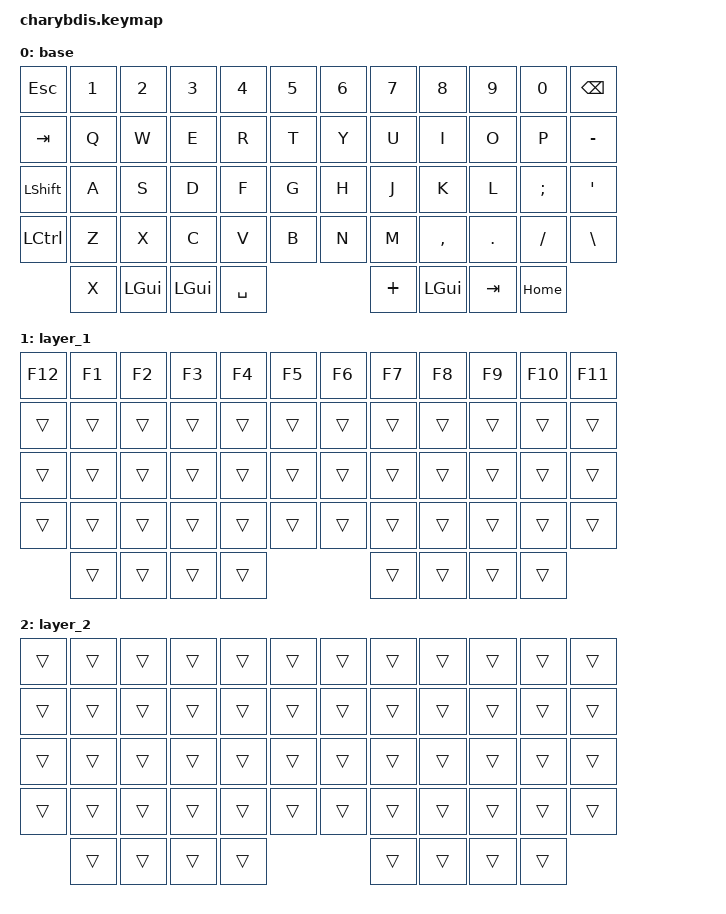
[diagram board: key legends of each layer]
#include <dt-bindings/zmk/pointing.h>
#include <behaviors/mouse_keys.dtsi>
#include <behaviors.dtsi>
#include <dt-bindings/zmk/bt.h>
#include <dt-bindings/zmk/keys.h>
#include <dt-bindings/zmk/mouse.h>
#include <dt-bindings/zmk/outputs.h>

/ {
    chosen { zmk,matrix_transform = &default_transform; };
};


// dt-formatter: indent = "  "
// dt-formatter: multilineIntegerCellsIndent = "reindent"
// dt-formatter: multilineListCommaStyle = "leading"

&sk { /delete-property/ ignore-modifiers; };

/ {
  conditional_layers { compatible = "zmk,conditional-layers"; };

  keymap {
    compatible = "zmk,keymap";

    base {
      bindings = <
        &kp ESC           &kp N1  &kp N2          &kp N3           &kp N4   &kp N5      &kp N6   &kp N7      &kp N8        &kp N9        &kp N0    &kp BSPC
        &kp TAB           &kp Q   &kp W           &kp E            &kp R    &kp T       &kp Y    &kp U       &kp I         &kp O         &kp P     &kp MINUS
        &kp LEFT_SHIFT    &kp A   &kp S           &kp D            &kp F    &kp G       &kp H    &kp J       &kp K         &kp L         &kp SEMI  &kp SQT
        &kp LEFT_CONTROL  &kp Z   &kp X           &kp C            &kp V    &kp B       &kp N    &kp M       &kp COMMA     &kp DOT       &kp FSLH  &kp BACKSLASH
                          &kp X   &kp LGUI        &kp LGUI         &kp SPACE &kp PLUS   &kp LGUI             &kp TAB                     &kp HOME 
                                      
      >;
    };

    layer_1 {
      bindings = <
        &kp F12  &kp F1  &kp F2  &kp F3  &kp F4  &kp F5  &kp F6  &kp F7  &kp F8  &kp F9  &kp F10  &kp F11
        &trans   &trans  &trans  &trans  &trans  &trans  &trans  &trans  &trans  &trans  &trans   &trans
        &trans   &trans  &trans  &trans  &trans  &trans  &trans  &trans  &trans  &trans  &trans   &trans
        &trans   &trans  &trans  &trans  &trans  &trans  &trans  &trans  &trans  &trans  &trans   &trans
                 &trans  &trans  &trans  &trans  &trans  &trans          &trans          &trans
                         
      >;
    };

    layer_2 {
      bindings = <
        &trans  &trans  &trans  &trans  &trans  &trans  &trans  &trans  &trans  &trans  &trans  &trans
        &trans  &trans  &trans  &trans  &trans  &trans  &trans  &trans  &trans  &trans  &trans  &trans
        &trans  &trans  &trans  &trans  &trans  &trans  &trans  &trans  &trans  &trans  &trans  &trans
        &trans  &trans  &trans  &trans  &trans  &trans  &trans  &trans  &trans  &trans  &trans  &trans
                &trans  &trans  &trans  &trans  &trans  &trans          &trans          &trans
                        
      >;
    };
  };
};
